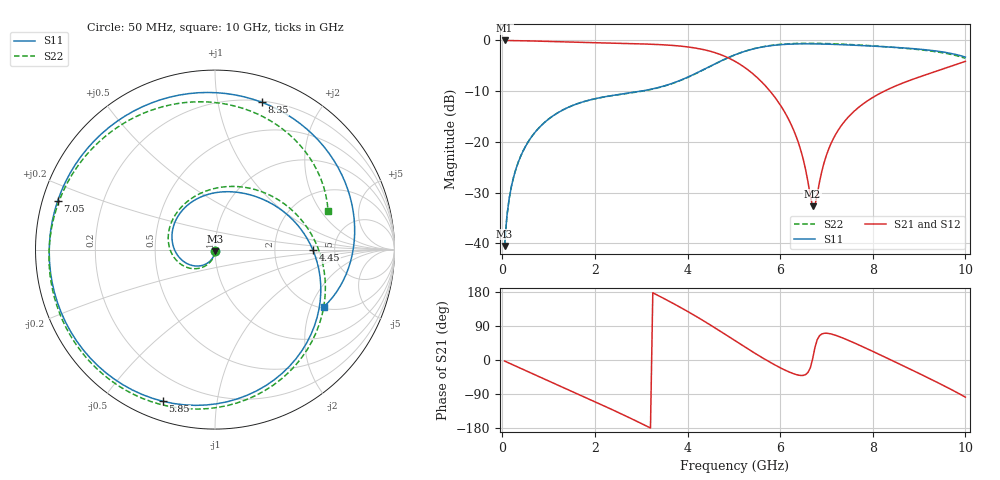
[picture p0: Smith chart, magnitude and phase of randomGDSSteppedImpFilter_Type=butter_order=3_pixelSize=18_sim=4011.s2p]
! freq	dB(S11)	phase(S11)	dB(S12)	phase(S12)
!  dB(S21)	phase(S21)	dB(S22)	phase(S22)
!S-par simulation data
#  GHz  S  DB  R 50
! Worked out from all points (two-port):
!   200 points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, 50 MHz to 10 GHz, reference 50 ohm
!   highest |S21| = -0.01 dB at 50 MHz (marker M1); lowest = -32.7 dB at 6.7 GHz (marker M2)
!   |S21| within 3 dB of the highest: start of sweep to 4.771 GHz
!   lowest |S11| = -40.5 dB at 50 MHz (marker M3), VSWR 1.02, Z = 50 - j0.942 ohm
!   |S11| at or under -10 dB: start of sweep to 2.994 GHz
!   |S22| runs from -40.6 to -0.6 dB; largest |S21 - S12| = 0
!   S11 on the Smith chart (normalised r, x): 50 MHz: 1.00, -0.02; 4.45 GHz: 3.40, -0.03; 5.85 GHz: 0.08, -0.71; 7.05 GHz: 0.04, +0.15; 8.35 GHz: 0.21, +1.34; 10 GHz: 2.06, -2.48
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0.05  -40.51 -91.8  -0.01 -2.8  -0.01 -2.8  -40.57 -92.0
0.1  -34.59 -95.4  -0.01 -5.6  -0.01 -5.6  -34.59 -94.6
0.2  -28.65 -102.0  -0.02 -11.2  -0.02 -11.2  -28.65 -100.0
0.5  -20.91 -120.5  -0.07 -27.7  -0.07 -27.7  -20.90 -115.9
1.15  -14.54 -159.6  -0.23 -63.4  -0.23 -63.4  -14.54 -148.7
1.75  -12.09 164.7  -0.39 -96.3  -0.39 -96.3  -12.10 -178.8
2.2  -11.13 137.8  -0.50 -121.2  -0.50 -121.2  -11.15 158.0
2.7  -10.42 107.9  -0.61 -149.7  -0.61 -149.7  -10.46 130.9
3.4  -9.21 66.4  -0.83 168.0  -0.83 168.0  -9.26 87.8
4  -7.25 29.9  -1.28 128.3  -1.28 128.3  -7.31 44.6
4.45  -5.26 -0.3  -2.04 95.6  -2.04 95.6  -5.31 9.3
5.05  -2.75 -45.6  -4.25 49.1  -4.25 49.1  -2.75 -39.3
5.5  -1.50 -81.5  -7.29 14.4  -7.29 14.4  -1.47 -74.4
5.85  -0.98 -109.0  -10.77 -10.6  -10.77 -10.6  -0.92 -99.5
6.35  -0.69 -146.7  -19.04 -38.6  -19.04 -38.6  -0.60 -131.6
6.7  -0.68 -172.2  -32.70 2.2  -32.70 2.2  -0.57 -152.0
7.05  -0.75 162.8  -21.37 70.0  -21.37 70.0  -0.63 -171.2
7.7  -0.99 117.0  -13.16 39.6  -13.16 39.6  -0.90 154.8
8.35  -1.30 72.5  -9.56 2.6  -9.56 2.6  -1.29 120.7
9.15  -1.85 21.5  -6.75 -44.4  -6.75 -44.4  -1.97 75.8
9.55  -2.33 -2.2  -5.53 -68.8  -5.53 -68.8  -2.50 50.7
10  -3.29 -27.8  -4.12 -98.1  -4.12 -98.1  -3.52 19.0
